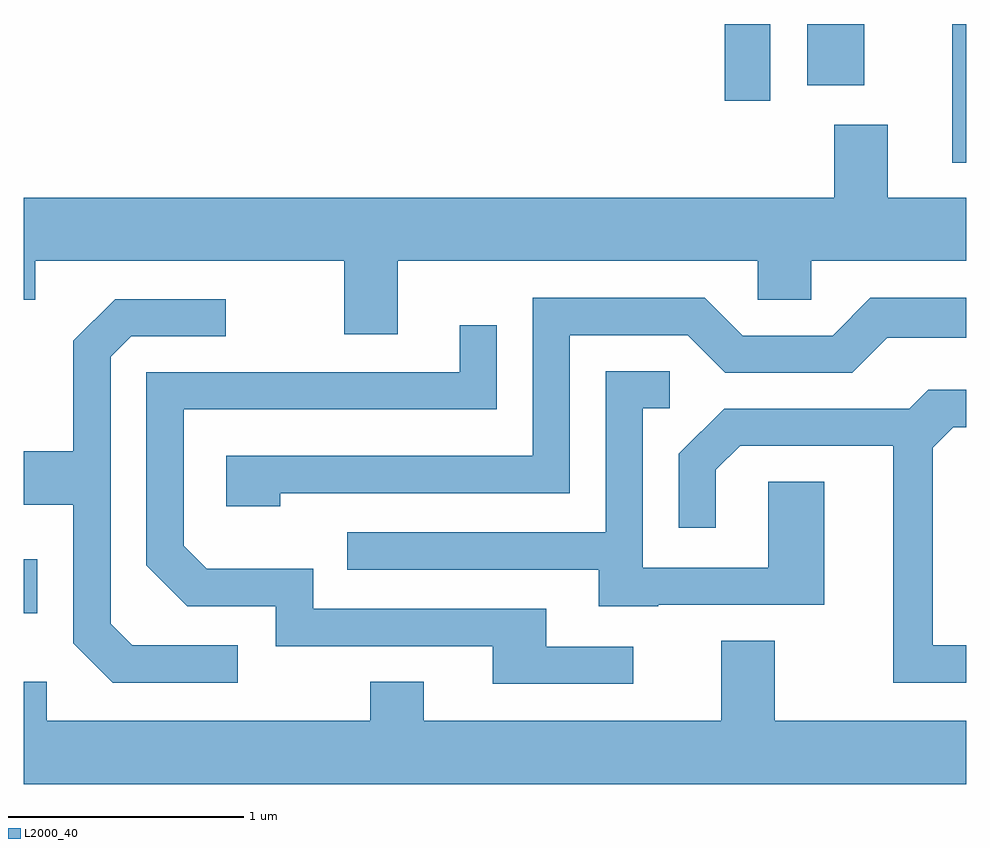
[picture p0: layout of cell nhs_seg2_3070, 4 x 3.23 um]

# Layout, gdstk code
import gdstk
lib = gdstk.Library(unit=1e-6, precision=1e-09)
def R(c, l, rs):  # rectangles x0, y0, x1, y1
    for r in rs: c.add(gdstk.rectangle(r[:2], r[2:], *l))
def P(c, l, *ps):  # polygons
    for p in ps: c.add(gdstk.Polygon(p, *l))
L2000_40 = (2000, 40)

nhs_seg2_3070 = lib.new_cell('nhs_seg2_3070')
R(nhs_seg2_3070, L2000_40, [(275.611,1011.301,275.669,1011.529), (279.551,1013.213,279.611,1013.802), (278.586,1013.476,278.779,1013.802), (278.936,1013.541,279.179,1013.802)])
P(nhs_seg2_3070, L2000_40, [(277.199,1012.796),(278.726,1012.796),(278.726,1012.631),(278.954,1012.631),(278.954,1012.796),(279.611,1012.796),(279.611,1013.064),(279.279,1013.064),(279.279,1013.374),(279.051,1013.374),(279.051,1013.064),(275.611,1013.064),(275.611,1012.631),(275.659,1012.631),(275.659,1012.796),(276.971,1012.796),(276.971,1012.486),(277.199,1012.486)],
  [(276.699,1011.811),(277.929,1011.811),(277.929,1012.481),(278.429,1012.481),(278.589,1012.321),(279.127,1012.321),(279.277,1012.471),(279.611,1012.471),(279.611,1012.639),(279.204,1012.639),(279.044,1012.479),(278.662,1012.479),(278.502,1012.639),(277.771,1012.639),(277.771,1011.969),(276.471,1011.969),(276.471,1011.756),(276.699,1011.756)],
  [(276.518,1011.164),(276.072,1011.164),(275.979,1011.257),(275.979,1012.389),(276.067,1012.476),(276.468,1012.476),(276.468,1012.634),(275.999,1012.634),(275.821,1012.457),(275.821,1011.989),(275.611,1011.989),(275.611,1011.761),(275.821,1011.761),(275.821,1011.174),(275.989,1011.006),(276.518,1011.006)],
  [(278.198,1011.159),(277.829,1011.159),(277.829,1011.319),(276.839,1011.319),(276.839,1011.489),(276.387,1011.489),(276.289,1011.587),(276.289,1012.166),(277.619,1012.166),(277.619,1012.523),(277.461,1012.523),(277.461,1012.324),(276.131,1012.324),(276.131,1011.504),(276.304,1011.331),(276.681,1011.331),(276.681,1011.161),(277.601,1011.161),(277.601,1011.001),(278.198,1011.001)],
  [(278.305,1011.336),(279.009,1011.336),(279.009,1011.859),(278.771,1011.859),(278.771,1011.494),(278.239,1011.494),(278.239,1012.171),(278.353,1012.171),(278.353,1012.329),(278.081,1012.329),(278.081,1011.644),(276.983,1011.644),(276.983,1011.486),(278.051,1011.486),(278.051,1011.331),(278.305,1011.331)],
  [(279.611,1011.164),(279.469,1011.164),(279.469,1012.004),(279.557,1012.091),(279.611,1012.091),(279.611,1012.249),(279.449,1012.249),(279.369,1012.169),(278.584,1012.169),(278.391,1011.977),(278.391,1011.663),(278.549,1011.663),(278.549,1011.909),(278.652,1012.011),(279.301,1012.011),(279.301,1011.006),(279.611,1011.006)],
  [(279.611,1010.844),(278.799,1010.844),(278.799,1011.184),(278.571,1011.184),(278.571,1010.844),(277.309,1010.844),(277.309,1011.009),(277.081,1011.009),(277.081,1010.844),(275.709,1010.844),(275.709,1011.009),(275.611,1011.009),(275.611,1010.576),(279.611,1010.576)])

lib.write_gds('nhs_seg2_3070.gds')
